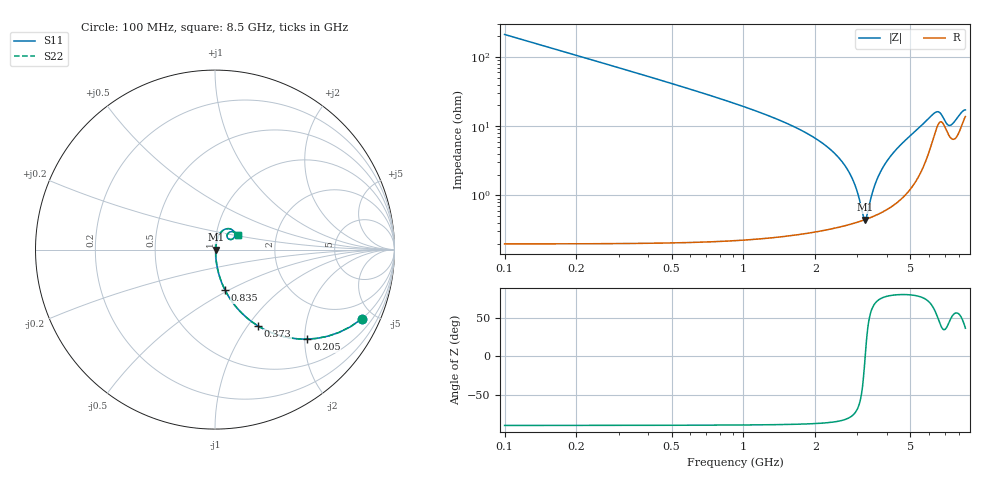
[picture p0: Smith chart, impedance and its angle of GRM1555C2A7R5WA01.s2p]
!Murata Part Number: GRM1555C2A7R5WA01
!These Parameters are Measured in Series Mode Connection
!Data Generated on Mar 30, 2021
!  o--ll--o
!Port1  Port2
!  o------o
!Operation Temp=25[degC], DC Bias Voltage=0[V]
!Freq. Start=100[MHz] Stop=9[GHz] 401[Steps]
# Hz S RI R 50
!Freq.(Hz) S11(Real) S11(Imag) S21(Real) S21(Imag) S12(Real) S12(Imag) S22(Real) S22(Imag)
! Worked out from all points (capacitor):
!   401 points, 100 MHz to 8.5 GHz, reference 50 ohm
!   read as one part in series: C = 7.5 pF near 142 MHz
!   lowest |Z| = 445 mohm at 3.229 GHz (marker M1)
!   series resonance near 3.234 GHz, so ESL is about 320 pH
!   S11 on the Smith chart (normalised r, x): 100 MHz: 1.00, -4.24; 205 MHz: 1.00, -2.06; 373 MHz: 1.00, -1.12; 835 MHz: 1.00, -0.48; 8.5 GHz: 1.28, +0.21
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1e8  0.8178 -0.3856  0.1822 0.3856  0.1822 0.3856  0.8178 -0.3856
2.05e8  0.5153 -0.4988  0.4847 0.4988  0.4847 0.4988  0.5153 -0.4988
3.73e8  0.2406 -0.4257  0.7594 0.4257  0.7594 0.4257  0.2406 -0.4257
5.62e8  0.1199 -0.322  0.8801 0.322  0.8801 0.322  0.1199 -0.322
8.35e8  0.0554 -0.2242  0.9446 0.2242  0.9446 0.2242  0.0554 -0.2242
1.507e9  0.0147 -0.1094  0.9853 0.1094  0.9853 0.1094  0.0147 -0.1094
2.431e9  0.00487 -0.0387  0.9951 0.0387  0.9951 0.0387  0.00487 -0.0387
2.704e9  0.00427 -0.0243  0.9957 0.0243  0.9957 0.0243  0.00427 -0.0243
2.914e9  0.00415 -0.0142  0.9959 0.0142  0.9959 0.0142  0.00415 -0.0142
3.166e9  0.00433 -0.00293  0.9957 0.00293  0.9957 0.00293  0.00433 -0.00293
3.229e9  0.00443 -0.000227  0.9956 0.000227  0.9956 0.000227  0.00443 -0.000227
3.292e9  0.00454 0.00244  0.9955 -0.00244  0.9955 -0.00244  0.00454 0.00244
3.502e9  0.00506 0.0111  0.9949 -0.0111  0.9949 -0.0111  0.00506 0.0111
3.67e9  0.00563 0.0178  0.9944 -0.0178  0.9944 -0.0178  0.00563 0.0178
3.943e9  0.00686 0.0285  0.9931 -0.0285  0.9931 -0.0285  0.00686 0.0285
4.3e9  0.00913 0.0422  0.9909 -0.0422  0.9909 -0.0422  0.00913 0.0422
5.707e9  0.0372 0.1012  0.9628 -0.1012  0.9628 -0.1012  0.0372 0.1012
6.484e9  0.1026 0.1043  0.8974 -0.1043  0.8974 -0.1043  0.1026 0.1043
7.114e9  0.0811 0.057  0.9189 -0.057  0.9189 -0.057  0.0811 0.057
7.408e9  0.0678 0.0702  0.9322 -0.0702  0.9322 -0.0702  0.0678 0.0702
8.143e9  0.0984 0.1002  0.9016 -0.1002  0.9016 -0.1002  0.0984 0.1002
8.5e9  0.1282 0.0791  0.8718 -0.0791  0.8718 -0.0791  0.1282 0.0791
